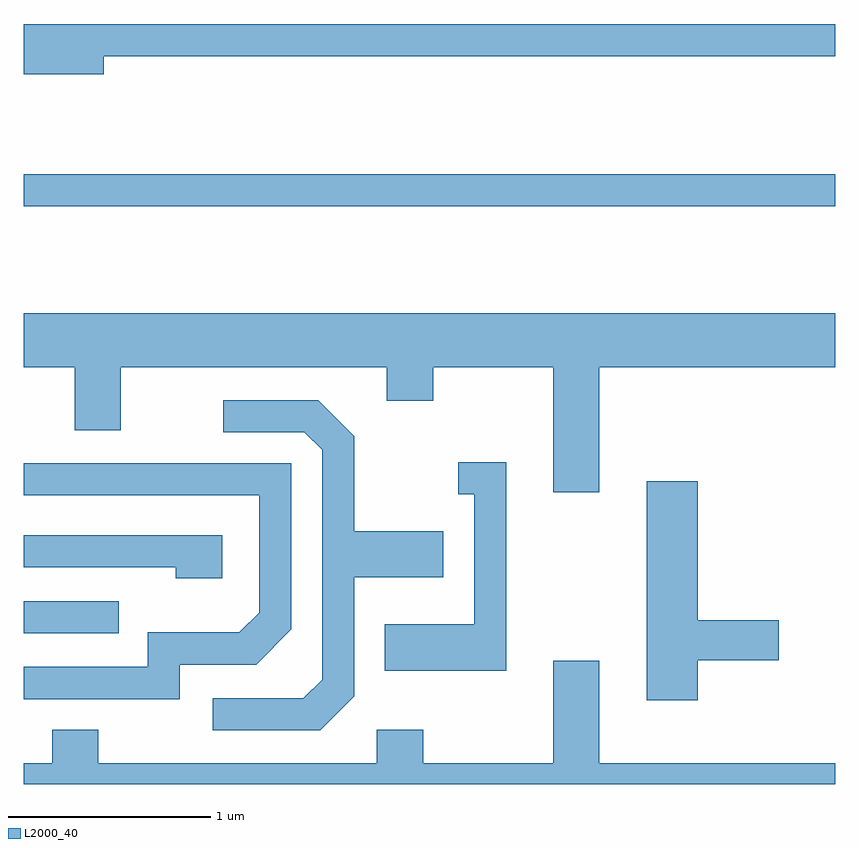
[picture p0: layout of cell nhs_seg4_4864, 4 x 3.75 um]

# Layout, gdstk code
import gdstk
lib = gdstk.Library(unit=1e-6, precision=1e-09)
def R(c, l, rs):  # rectangles x0, y0, x1, y1
    for r in rs: c.add(gdstk.rectangle(r[:2], r[2:], *l))
def P(c, l, *ps):  # polygons
    for p in ps: c.add(gdstk.Polygon(p, *l))
L2000_40 = (2000, 40)

nhs_seg4_4864 = lib.new_cell('nhs_seg4_4864')
R(nhs_seg4_4864, L2000_40, [(327.611,1326.726,328.078,1326.884), (327.611,1328.831,331.611,1328.989)])
P(nhs_seg4_4864, L2000_40, [(328.004,1329.571),(331.611,1329.571),(331.611,1329.729),(327.611,1329.729),(327.611,1329.481),(328.004,1329.481)],
  [(330.449,1328.036),(331.611,1328.036),(331.611,1328.304),(327.611,1328.304),(327.611,1328.036),(327.861,1328.036),(327.861,1327.726),(328.089,1327.726),(328.089,1328.036),(329.401,1328.036),(329.401,1327.871),(329.629,1327.871),(329.629,1328.036),(330.221,1328.036),(330.221,1327.421),(330.449,1327.421)],
  [(329.239,1326.414),(329.239,1327.001),(329.679,1327.001),(329.679,1327.229),(329.239,1327.229),(329.239,1327.697),(329.062,1327.874),(328.593,1327.874),(328.593,1327.716),(328.994,1327.716),(329.081,1327.629),(329.081,1326.497),(328.989,1326.404),(328.543,1326.404),(328.543,1326.246),(329.072,1326.246)],
  [(329.989,1327.569),(329.753,1327.569),(329.753,1327.411),(329.831,1327.411),(329.831,1326.769),(329.391,1326.769),(329.391,1326.541),(329.989,1326.541)],
  [(328.379,1326.571),(328.757,1326.571),(328.929,1326.744),(328.929,1327.564),(327.611,1327.564),(327.611,1327.406),(328.771,1327.406),(328.771,1326.827),(328.674,1326.729),(328.221,1326.729),(328.221,1326.559),(327.611,1326.559),(327.611,1326.401),(328.379,1326.401)],
  [(330.934,1326.591),(331.334,1326.591),(331.334,1326.789),(330.934,1326.789),(330.934,1327.474),(330.681,1327.474),(330.681,1326.396),(330.934,1326.396)],
  [(328.589,1327.209),(327.611,1327.209),(327.611,1327.051),(328.361,1327.051),(328.361,1326.996),(328.589,1326.996)],
  [(331.611,1326.084),(330.449,1326.084),(330.449,1326.589),(330.221,1326.589),(330.221,1326.084),(329.579,1326.084),(329.579,1326.249),(329.351,1326.249),(329.351,1326.084),(327.979,1326.084),(327.979,1326.249),(327.751,1326.249),(327.751,1326.084),(327.611,1326.084),(327.611,1325.982),(331.611,1325.982)])

lib.write_gds('nhs_seg4_4864.gds')
